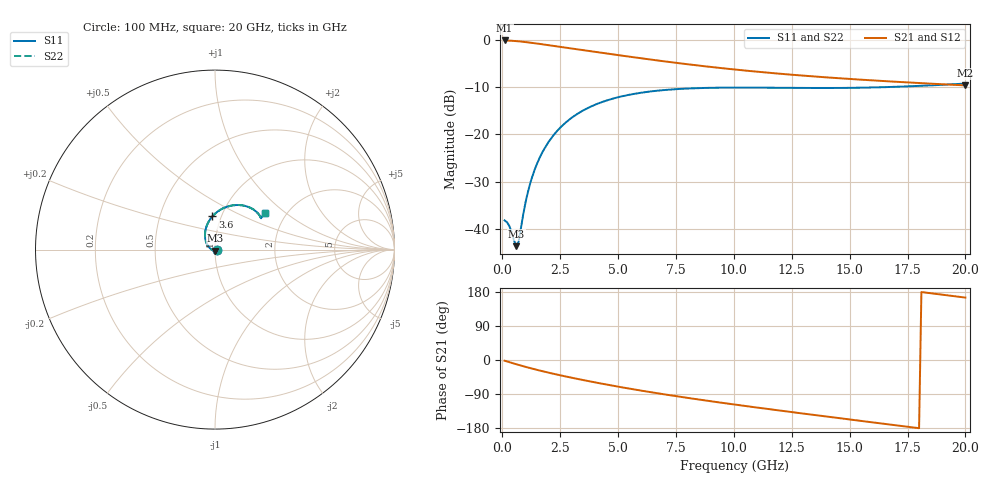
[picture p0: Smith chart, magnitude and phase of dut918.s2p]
! Touchstone file exported from HFSS 2024.1.0
!  File:  C:/UserFiles/LocalFiles/RDL_TSV_Batchsim/temp_RDL_TSV_918_1779957586.aedt
!  Generated:  04:57:59 PM May 28, 2026
!  Design:  RDL_TSV
!  Project:  temp_RDL_TSV_918_1779957586
!  Setup:  Setup1
!  Solution:  Sweep
! Variables:
!  dtsv = 13.63um
!  hbump = 3um
!  htsv = 77.58um
!  ldown = 251.55um
!  lrdl = 464.23um
!  p = 40
!  p1 = 55.85um
!  rhole = 10um
!  subl = 2611.57um
!  t = 450um
!  tdown = 3.4um
!  trdl = 4.18um
!  viad = 10um
!  wdown = 20.81um
!  wrdl = 19.05um
!  xbump = 18um
# GHz S MA R 50.000000
! Terminal data exported
! Port[1] = TM1_1_T1
! Port[2] = TM1_4_T1
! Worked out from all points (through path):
!   200 points, 100 MHz to 20 GHz, reference 50 ohm
!   highest |S21| = -0.11 dB at 100 MHz (marker M1); lowest = -9.6 dB at 20 GHz (marker M2)
!   group delay of S21, straight-line fit = 25.3 ps
!   lowest |S11| = -43.6 dB at 600 MHz (marker M3), VSWR 1.01, Z = 50 - j0.657 ohm
!   |S11| at or under -10 dB: start of sweep to 16.49 GHz
!   |S22| runs from -43.6 to -9.2 dB; largest |S21 - S12| = 8e-15
!   S11 on the Smith chart (normalised r, x): 100 MHz: 1.02, -0.00; 3.6 GHz: 0.91, +0.35; 20 GHz: 1.58, +0.72
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0.1  0.01233 -6.1  0.9869 -1.9  0.9869 -1.9  0.01233 -6.1
! Gamma 0 0 0 0
! Port Impedance 50 0 50 0
0.3  0.01081 -23.3  0.9826 -5.7  0.9826 -5.7  0.0108 -23.3
0.6  0.006574 -86.8  0.9713 -11.1  0.9713 -11.1  0.00657 -86.9
0.7  0.00728 -123.7  0.9665 -12.9  0.9665 -12.9  0.007281 -123.7
1  0.01889 179.6  0.9494 -18.0  0.9494 -18.0  0.01891 179.5
1.2  0.03002 164.2  0.9364 -21.3  0.9364 -21.3  0.03004 164.2
1.4  0.04243 153.4  0.9226 -24.5  0.9226 -24.5  0.04247 153.4
1.7  0.06247 141.0  0.9012 -29.1  0.9012 -29.1  0.06252 141.0
2.1  0.09026 127.9  0.8725 -34.8  0.8725 -34.8  0.09033 127.9
2.5  0.1178 117.2  0.8445 -40.3  0.8445 -40.3  0.1179 117.1
3  0.1503 105.9  0.8108 -46.8  0.8108 -46.8  0.1504 105.9
3.5  0.1798 96.3  0.7787 -53.0  0.7787 -53.0  0.1799 96.3
3.6  0.1853 94.6  0.7724 -54.3  0.7724 -54.3  0.1854 94.6
4.3  0.2198 83.6  0.7303 -62.5  0.7303 -62.5  0.2199 83.6
5  0.2474 74.5  0.6908 -70.3  0.6908 -70.3  0.2476 74.6
6.8  0.2919 57.2  0.6019 -88.8  0.6019 -88.8  0.2922 57.2
8.4  0.3086 47.0  0.5381 -103.5  0.5381 -103.5  0.3089 47.0
10.1  0.3131 40.0  0.4845 -118.1  0.4845 -118.1  0.3134 40.0
11.7  0.3118 36.2  0.4449 -131.1  0.4449 -131.1  0.3121 36.2
13.4  0.3098 34.4  0.4116 -144.5  0.4116 -144.5  0.3101 34.4
16.7  0.3173 34.9  0.3642 -170.0  0.3642 -170.0  0.3176 34.9
20  0.345 35.8  0.3302 164.7  0.3302 164.7  0.3453 35.8
